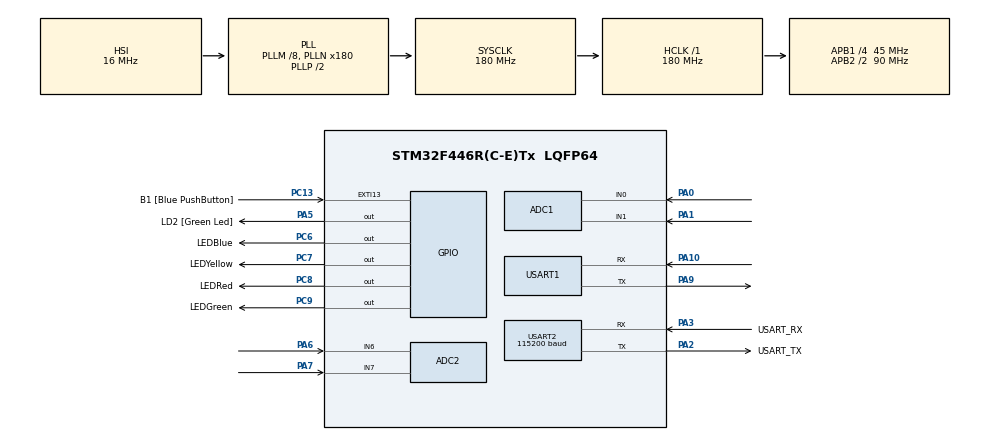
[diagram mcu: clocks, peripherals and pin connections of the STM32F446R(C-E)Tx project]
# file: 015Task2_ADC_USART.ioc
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ADC1.Channel-0\#ChannelRegularConversion=ADC_CHANNEL_0
ADC1.Channel-1\#ChannelRegularConversion=ADC_CHANNEL_1
ADC1.ClockPrescaler=ADC_CLOCK_SYNC_PCLK_DIV8
ADC1.ContinuousConvMode=ENABLE
ADC1.DMAContinuousRequests=ENABLE
ADC1.EOCSelection=ADC_EOC_SEQ_CONV
ADC1.NbrOfConversion=2
ADC1.NbrOfConversionFlag=1
ADC1.Rank-0\#ChannelRegularConversion=1
ADC1.Rank-1\#ChannelRegularConversion=2
ADC1.SamplingTime-0\#ChannelRegularConversion=ADC_SAMPLETIME_480CYCLES
ADC1.SamplingTime-1\#ChannelRegularConversion=ADC_SAMPLETIME_480CYCLES
ADC1.ScanConvMode=ENABLE
ADC1.master=1
ADC2.Channel-0\#ChannelRegularConversion=ADC_CHANNEL_6
ADC2.Channel-1\#ChannelRegularConversion=ADC_CHANNEL_7
ADC2.ClockPrescaler=ADC_CLOCK_SYNC_PCLK_DIV8
ADC2.ContinuousConvMode=ENABLE
ADC2.DMAContinuousRequests=ENABLE
ADC2.EOCSelection=ADC_EOC_SEQ_CONV
ADC2.InjNumberOfConversion=0
ADC2.NbrOfConversion=2
ADC2.NbrOfConversionFlag=1
ADC2.Rank-0\#ChannelRegularConversion=1
ADC2.Rank-1\#ChannelRegularConversion=2
ADC2.SamplingTime-0\#ChannelRegularConversion=ADC_SAMPLETIME_480CYCLES
ADC2.SamplingTime-1\#ChannelRegularConversion=ADC_SAMPLETIME_480CYCLES
Dma.ADC1.0.Direction=DMA_PERIPH_TO_MEMORY
Dma.ADC1.0.FIFOMode=DMA_FIFOMODE_DISABLE
Dma.ADC1.0.Instance=DMA2_Stream0
Dma.ADC1.0.MemDataAlignment=DMA_MDATAALIGN_HALFWORD
Dma.ADC1.0.MemInc=DMA_MINC_ENABLE
Dma.ADC1.0.Mode=DMA_CIRCULAR
Dma.ADC1.0.PeriphDataAlignment=DMA_PDATAALIGN_HALFWORD
Dma.ADC1.0.PeriphInc=DMA_PINC_DISABLE
Dma.ADC1.0.Priority=DMA_PRIORITY_LOW
Dma.ADC2.1.Direction=DMA_PERIPH_TO_MEMORY
Dma.ADC2.1.FIFOMode=DMA_FIFOMODE_DISABLE
Dma.ADC2.1.Instance=DMA2_Stream2
Dma.ADC2.1.MemDataAlignment=DMA_MDATAALIGN_HALFWORD
Dma.ADC2.1.MemInc=DMA_MINC_ENABLE
Dma.ADC2.1.Mode=DMA_CIRCULAR
Dma.ADC2.1.PeriphDataAlignment=DMA_PDATAALIGN_HALFWORD
Dma.ADC2.1.PeriphInc=DMA_PINC_DISABLE
Dma.ADC2.1.Priority=DMA_PRIORITY_LOW
Dma.Request0=ADC1
Dma.Request1=ADC2
Mcu.Family=STM32F4
Mcu.Name=STM32F446R(C-E)Tx
Mcu.Package=LQFP64
NVIC.ADC_IRQn=true\:6\:0\:true\:false\:true\:true\:true\:true
NVIC.DMA2_Stream0_IRQn=true\:6\:0\:true\:false\:true\:false\:true\:true
NVIC.DMA2_Stream2_IRQn=true\:6\:0\:true\:false\:true\:false\:true\:true
NVIC.EXTI15_10_IRQn=true\:6\:0\:true\:false\:true\:true\:true\:true
NVIC.PriorityGroup=NVIC_PRIORITYGROUP_4
NVIC.TIM6_DAC_IRQn=true\:15\:0\:false\:false\:true\:false\:true\:true
NVIC.TimeBase=TIM6_DAC_IRQn
NVIC.TimeBaseIP=TIM6
NVIC.USART2_IRQn=true\:6\:0\:true\:false\:true\:true\:true\:true
PA0-WKUP.Signal=ADCx_IN0
PA1.Signal=ADCx_IN1
PA10.Mode=Asynchronous
PA10.Signal=USART1_RX
PA13.GPIO_Label=TMS
PA13.Mode=Serial_Wire
PA13.Signal=SYS_JTMS-SWDIO
PA14.GPIO_Label=TCK
PA14.Mode=Serial_Wire
PA14.Signal=SYS_JTCK-SWCLK
PA2.GPIO_Label=USART_TX
PA2.Mode=Asynchronous
PA2.Signal=USART2_TX
PA3.GPIO_Label=USART_RX
PA3.Mode=Asynchronous
PA3.Signal=USART2_RX
PA5.GPIO_Label=LD2 [Green Led]
PA5.Signal=GPIO_Output
PA6.Signal=ADCx_IN6
PA7.Signal=ADCx_IN7
PA9.Mode=Asynchronous
PA9.Signal=USART1_TX
PB3.GPIO_Label=SWO
PB3.Signal=SYS_JTDO-SWO
PC13.GPIO_Label=B1 [Blue PushButton]
PC13.GPIO_ModeDefaultEXTI=GPIO_MODE_IT_FALLING
PC13.Signal=GPXTI13
PC14-OSC32_IN.Mode=LSE-External-Oscillator
PC14-OSC32_IN.Signal=RCC_OSC32_IN
PC15-OSC32_OUT.Mode=LSE-External-Oscillator
PC15-OSC32_OUT.Signal=RCC_OSC32_OUT
PC6.GPIO_Label=LEDBlue
PC6.GPIO_ModeDefaultOutputPP=GPIO_MODE_OUTPUT_OD
PC6.GPIO_PuPd=GPIO_NOPULL
PC6.GPIO_Speed=GPIO_SPEED_FREQ_HIGH
PC6.Signal=GPIO_Output
PC7.GPIO_Label=LEDYellow
PC7.GPIO_ModeDefaultOutputPP=GPIO_MODE_OUTPUT_OD
PC7.GPIO_PuPd=GPIO_NOPULL
PC7.GPIO_Speed=GPIO_SPEED_FREQ_HIGH
PC7.Signal=GPIO_Output
PC8.GPIO_Label=LEDRed
PC8.GPIO_ModeDefaultOutputPP=GPIO_MODE_OUTPUT_OD
PC8.GPIO_PuPd=GPIO_NOPULL
PC8.GPIO_Speed=GPIO_SPEED_FREQ_HIGH
PC8.Signal=GPIO_Output
PC9.GPIO_Label=LEDGreen
PC9.GPIO_ModeDefaultOutputPP=GPIO_MODE_OUTPUT_OD
PC9.GPIO_PuPd=GPIO_NOPULL
PC9.GPIO_Speed=GPIO_SPEED_FREQ_HIGH
PC9.Signal=GPIO_Output
PH0-OSC_IN.Mode=HSE-External-Oscillator
PH0-OSC_IN.Signal=RCC_OSC_IN
PH1-OSC_OUT.Mode=HSE-External-Oscillator
PH1-OSC_OUT.Signal=RCC_OSC_OUT
ProjectManager.HeapSize=0x200
ProjectManager.StackSize=0x400
ProjectManager.TargetToolchain=STM32CubeIDE
RCC.48MHZClocksFreq_Value=84000000
RCC.AHBFreq_Value=180000000
RCC.APB1CLKDivider=RCC_HCLK_DIV4
RCC.APB1Freq_Value=45000000
RCC.APB1TimFreq_Value=90000000
RCC.APB2CLKDivider=RCC_HCLK_DIV2
RCC.APB2Freq_Value=90000000
RCC.APB2TimFreq_Value=180000000
RCC.CortexFreq_Value=180000000
RCC.FLatency-AdvancedSettings=FLASH_LATENCY_5
RCC.HCLKFreq_Value=180000000
RCC.HSE_VALUE=8000000
RCC.HSI_VALUE=16000000
RCC.PLLM=8
RCC.PLLN=180
RCC.SYSCLKFreq_VALUE=180000000
RCC.SYSCLKSource=RCC_SYSCLKSOURCE_PLLCLK
RCC.USBFreq_Value=180000000
RCC.VCOOutputFreq_Value=360000000
SH.ADCx_IN0.0=ADC1_IN0,IN0
SH.ADCx_IN1.0=ADC1_IN1,IN1
SH.ADCx_IN6.0=ADC2_IN6,IN6
SH.ADCx_IN7.0=ADC2_IN7,IN7
USART1.VirtualMode=VM_ASYNC
USART2.BaudRate=115200
USART2.VirtualMode=VM_ASYNC
VP_SYS_VS_tim6.Mode=TIM6
board=NUCLEO-F446RE

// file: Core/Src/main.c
/* USER CODE BEGIN Header */
/**
 ******************************************************************************
 * @file           : main.c
 * @brief          : Main program body
 ******************************************************************************
 * @attention
 *
 * Copyright (c) 2025 STMicroelectronics.
 * All rights reserved.
 *
 * This software is licensed under terms that can be found in the LICENSE file
 * in the root directory of this software component.
 * If no LICENSE file comes with this software, it is provided AS-IS.
 *
 ******************************************************************************
 */
/* USER CODE END Header */
#include "main.h"
#include "adc.h"
#include "dma.h"
#include "usart.h"
#include "gpio.h"

/* USER CODE BEGIN Includes */

#include <stdlib.h>
#include <stdio.h>
#include "string.h"

#include "FreeRTOS.h"
#include "task.h"
#include "queue.h"
#include "math.h"
/* USER CODE END Includes */

/* USER CODE BEGIN PTD */

#define F_REF				60.0f

// 	USE ANYONE AT A TIME
//	SEGGER		:	1
// 	Tera Term 	:	0

/* USER CODE END PTD */

/* USER CODE BEGIN PD */

#define DWT_CTRL        (*(volatile uint32_t*)0XE0001000)
#define MAX_LEN		32
/* USER CODE END PD */

/* USER CODE BEGIN PV */
TaskHandle_t task1_handle; // Gen task 1
TaskHandle_t task2_handle; // Gen task 2
TaskHandle_t task3_handle; // Parameter calc from ADC Handler
TaskHandle_t task4_handle; // Print on uart handler
QueueHandle_t q_print;

ADC_Struct_t adc;

int cnt = 0, btn_pressed = 0;
volatile int adc_isr_cnt = 0;
volatile float power = 0;
volatile float vrms = 0;
volatile float irms = 0;
volatile float temperature = 0;
volatile uint32_t power_int = 0;
volatile uint32_t vrms_int = 0;
volatile uint32_t irms_int = 0;
volatile uint32_t temperature_int = 0;

char *str_g = "\n";	//"860\n";
float ang = 0, ang2 = 0;
int32_t val = 0, val2 = 0;

/* USER CODE END PV */

void SystemClock_Config(void);
/* USER CODE BEGIN PFP */

static void LED_Green_Handler(void *parameters);
static void LED_Red_Handler(void *parameters);
static void Para_Calc_Handler(void *param);
static void Print_Handler(void *param);

extern void SEGGER_UART_init(uint32_t);

/* USER CODE END PFP */

int main(void)
{

  /* USER CODE BEGIN 1 */

	BaseType_t status;

  /* USER CODE END 1 */

  /* MCU Configuration--------------------------------------------------------*/

  /* Reset of all peripherals, Initializes the Flash interface and the Systick. */
  HAL_Init();

  /* Configure the system clock */
  SystemClock_Config();

  /* Initialize all configured peripherals */
  MX_GPIO_Init();
  MX_DMA_Init();
  MX_USART2_UART_Init();
  MX_ADC1_Init();
  MX_ADC2_Init();
  MX_USART1_UART_Init();
  /* USER CODE BEGIN 2 */

	//***********************************************************************
	//							RTOS Init
	//***********************************************************************
	{

		// Enable the CYCCNT counter
		DWT_CTRL |= (1 << 0);
	}

	//***********************************************************************
	//					RTOS : Task Creation/ Queue define
	//***********************************************************************
	{
		//<-----------------------Task Creation---------------------->
		status = xTaskCreate(LED_Green_Handler, "LED_Green_Task", 200, NULL, 2,
				&task1_handle);
		configASSERT(status == pdPASS);

		status = xTaskCreate(LED_Red_Handler, "LED_Red_Task", 200, NULL, 2,
				&task2_handle);
		configASSERT(status == pdPASS);

		status = xTaskCreate(Para_Calc_Handler, "Para_Calc_Task", 500, NULL, 2,
				&task3_handle);
		configASSERT(status == pdPASS);

		//Printing On UART 1: ESP32
		status = xTaskCreate(Print_Handler, "Print_Task", 500, NULL, 2,
				&task4_handle);
		configASSERT(status == pdPASS);

		//<-----------------------Queue Creation---------------------->

		//		q_adc = xQueueCreate(1, sizeof(ADC_Struct_t));

		q_print = xQueueCreate(8, MAX_LEN);
		configASSERT(q_print != NULL);

	}
	//***********************************************************************
	//							 HAL Init
	//***********************************************************************
	{
		HAL_ADC_Start_DMA(&hadc1, (uint32_t*) (adc.ADC1_Val), 4);
		HAL_ADC_Start_DMA(&hadc2, (uint32_t*) (adc.ADC2_Val), 2);
		//		HAL_ADC_Start_DMA(&hadc3, (uint32_t*) &(adc.ADC3_Val), 8);

//		HAL_UART_Receive_IT(&huart2, (uint8_t*)&user_data, 1);
	}
	//***********************************************************************
	//							RTOS : Task Scheduler Starts
	//***********************************************************************
	{
		//<-----------------------Task Scheduler Starts---------------------->
		vTaskStartScheduler();
	}

  /* USER CODE END 2 */

  /* Infinite loop */
	while (1) {

	}
}

void SystemClock_Config(void)
{
  RCC_OscInitTypeDef RCC_OscInitStruct = {0};
  RCC_ClkInitTypeDef RCC_ClkInitStruct = {0};

  /** Configure the main internal regulator output voltage
  */
  __HAL_RCC_PWR_CLK_ENABLE();
  __HAL_PWR_VOLTAGESCALING_CONFIG(PWR_REGULATOR_VOLTAGE_SCALE1);

  /** Initializes the RCC Oscillators according to the specified parameters
  * in the RCC_OscInitTypeDef structure.
  */
  RCC_OscInitStruct.OscillatorType = RCC_OSCILLATORTYPE_HSI;
  RCC_OscInitStruct.HSIState = RCC_HSI_ON;
  RCC_OscInitStruct.HSICalibrationValue = RCC_HSICALIBRATION_DEFAULT;
  RCC_OscInitStruct.PLL.PLLState = RCC_PLL_ON;
  RCC_OscInitStruct.PLL.PLLSource = RCC_PLLSOURCE_HSI;
  RCC_OscInitStruct.PLL.PLLM = 8;
  RCC_OscInitStruct.PLL.PLLN = 180;
  RCC_OscInitStruct.PLL.PLLP = RCC_PLLP_DIV2;
  RCC_OscInitStruct.PLL.PLLQ = 2;
  RCC_OscInitStruct.PLL.PLLR = 2;
  if (HAL_RCC_OscConfig(&RCC_OscInitStruct) != HAL_OK)
  {
    Error_Handler();
  }

  /** Activate the Over-Drive mode
  */
  if (HAL_PWREx_EnableOverDrive() != HAL_OK)
  {
    Error_Handler();
  }

  /** Initializes the CPU, AHB and APB buses clocks
  */
  RCC_ClkInitStruct.ClockType = RCC_CLOCKTYPE_HCLK|RCC_CLOCKTYPE_SYSCLK
                              |RCC_CLOCKTYPE_PCLK1|RCC_CLOCKTYPE_PCLK2;
  RCC_ClkInitStruct.SYSCLKSource = RCC_SYSCLKSOURCE_PLLCLK;
  RCC_ClkInitStruct.AHBCLKDivider = RCC_SYSCLK_DIV1;
  RCC_ClkInitStruct.APB1CLKDivider = RCC_HCLK_DIV4;
  RCC_ClkInitStruct.APB2CLKDivider = RCC_HCLK_DIV2;

  if (HAL_RCC_ClockConfig(&RCC_ClkInitStruct, FLASH_LATENCY_5) != HAL_OK)
  {
    Error_Handler();
  }
}

/* USER CODE BEGIN 4 */

void LED_Green_Handler(void *param) {

	char tx[MAX_LEN];
	int counter = 0;

	while (1) {
		ang += 0.3f;
		if (ang >= 6.27f) {
			ang = 0;
		}
		val = (int32_t) (1000.0f * sin(ang));
		// convert integer to string safely
		snprintf(tx, sizeof(tx), "SV:%d\r\n", val);

		xQueueSend(q_print, &tx, portMAX_DELAY);

//		sprintf(str_green, "%03d\n", (uint32_t) (val * 10.0f));
//		sprintf((char*) str_g, "%03.0f\n", val); // /* , |%04.0f : sysVar.nMotor*/

//		xQueueSend(q_print, &buffer, portMAX_DELAY);

		vTaskDelay(pdMS_TO_TICKS(50));
	}

}

void LED_Red_Handler(void *param) {
	char tx2[MAX_LEN];
	while (1) {
		ang2 += 0.3f;
		if (ang2 >= 6.27f) {
			ang2 = 0;
		}
		val2 = (int32_t) (1000.0f * sin(ang2 + 0.1f));
		// convert integer to string safely
		snprintf(tx2, sizeof(tx2), "SI:%d\r\n", val2);

		xQueueSend(q_print, &tx2, portMAX_DELAY);
		vTaskDelay(pdMS_TO_TICKS(50));
	}

}
//void LED_Red_Handler(void *param) {
//	const char *str = "102\n";
//	while (1) {
//
////		HAL_GPIO_TogglePin(LEDRed_GPIO_Port, LEDRed_Pin);
////		Print_Handler(str);
//
//		xQueueSend(q_print, &str, portMAX_DELAY);
//		vTaskDelay(pdMS_TO_TICKS(1000));
//	}
//
//}

void Print_Handler(void *param) {
	char rx[MAX_LEN] = "start\n";
	while (1) {

		xQueueReceive(q_print, rx, portMAX_DELAY);
		size_t len = strnlen(rx, MAX_LEN); // safe check
		if (len > 0) {
			HAL_UART_Transmit(&huart2, (uint8_t*) rx, len,
			HAL_MAX_DELAY);
			HAL_UART_Transmit(&huart1, (uint8_t*) rx, len,
			HAL_MAX_DELAY);
		}
	}

}
// Backup
//void Print_Handler(void *param) {
//	char *print_str = "start\n";
//	while (1) {
//
//		xQueueReceive(q_print, (void*) &print_str, portMAX_DELAY);
//		HAL_UART_Transmit(&huart2, (uint8_t*) print_str,
//				strlen((char*) print_str), HAL_MAX_DELAY);
//	}
//
//}

static void Para_Calc_Handler(void *param) {
	char tx3[MAX_LEN];
	while (1) {
		ulTaskNotifyTake(pdTRUE, portMAX_DELAY);
		vrms = (float) (adc.ADC1_Val[0]) * 500.0f / 4096.0f;
		irms = (float) (adc.ADC1_Val[1]) * 20.0f / 4096.0f;
		power = vrms * irms;
		temperature = (float) (adc.ADC2_Val[0]) * 200.0f / 4096.0f;
		vrms_int = (uint32_t) vrms;
		irms_int = (uint32_t) irms;
		power_int = (uint32_t) power;
		temperature_int = (uint32_t) temperature;

		// convert integer to string safely
		snprintf(tx3, sizeof(tx3), "NV:%d %d \n", vrms_int, irms_int);
		xQueueSend(q_print, &tx3, portMAX_DELAY);
		snprintf(tx3, sizeof(tx3), "NPT:%d %d \n", power_int, temperature_int);
		xQueueSend(q_print, &tx3, portMAX_DELAY);

	}
}
//***********************************************************************
//								ISR
//***********************************************************************
void HAL_ADC_ConvCpltCallback(ADC_HandleTypeDef *hadc) {
	adc_isr_cnt++;
	if (adc_isr_cnt > 1000) {
		adc_isr_cnt = 0;
		BaseType_t xHigherPriorityTaskWoken = pdFALSE;
		vTaskNotifyGiveFromISR(task3_handle, &xHigherPriorityTaskWoken);
		portYIELD_FROM_ISR(xHigherPriorityTaskWoken);
	}
}

/* USER CODE END 4 */

void HAL_TIM_PeriodElapsedCallback(TIM_HandleTypeDef *htim)
{
  if (htim->Instance == TIM6)
  {
    HAL_IncTick();
  }
}

void Error_Handler(void)
{
	__disable_irq();
	while (1) {
	}
}
